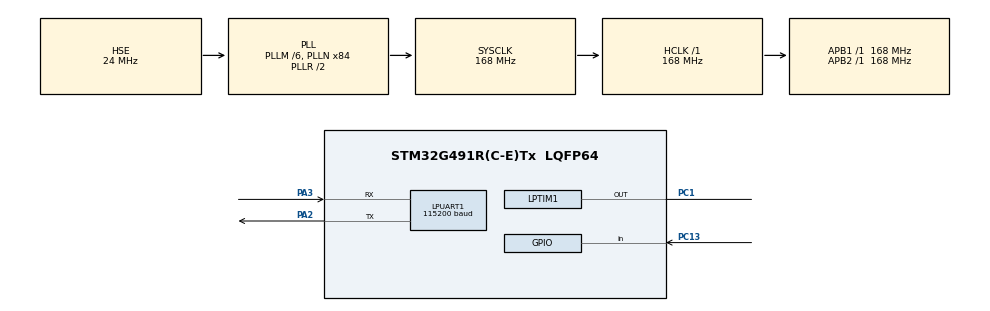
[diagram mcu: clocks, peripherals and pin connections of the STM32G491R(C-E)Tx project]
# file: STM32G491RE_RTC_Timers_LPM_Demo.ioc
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IWDG.Prescaler=IWDG_PRESCALER_256
IWDG.Reload=2500
IWDG.Window=2500
LPTIM1.ClockPrescaler=LPTIM_PRESCALER_DIV32
LPUART1.BaudRate=115200
Mcu.Family=STM32G4
Mcu.Name=STM32G491R(C-E)Tx
Mcu.Package=LQFP64
NVIC.PriorityGroup=NVIC_PRIORITYGROUP_4
NVIC.RTC_WKUP_IRQn=true\:0\:0\:false\:false\:true\:true\:true\:true
PA13.Mode=Serial_Wire
PA13.Signal=SYS_JTMS-SWDIO
PA14.Mode=Serial_Wire
PA14.Signal=SYS_JTCK-SWCLK
PA2.Mode=Asynchronous
PA2.Signal=LPUART1_TX
PA3.Mode=Asynchronous
PA3.Signal=LPUART1_RX
PC1.Mode=WaveformGeneration
PC1.Signal=LPTIM1_OUT
PC13.Signal=GPIO_Input
PC14-OSC32_IN.Mode=LSE-External-Oscillator
PC14-OSC32_IN.Signal=RCC_OSC32_IN
PC15-OSC32_OUT.Mode=LSE-External-Oscillator
PC15-OSC32_OUT.Signal=RCC_OSC32_OUT
PF0-OSC_IN.Mode=HSE-External-Oscillator
PF0-OSC_IN.Signal=RCC_OSC_IN
PF1-OSC_OUT.Mode=HSE-External-Oscillator
PF1-OSC_OUT.Signal=RCC_OSC_OUT
ProjectManager.HeapSize=0x200
ProjectManager.StackSize=0x400
ProjectManager.TargetToolchain=STM32CubeIDE
RCC.ADC12Freq_Value=168000000
RCC.ADC345Freq_Value=168000000
RCC.AHBFreq_Value=168000000
RCC.APB1Freq_Value=168000000
RCC.APB1TimFreq_Value=168000000
RCC.APB2Freq_Value=168000000
RCC.APB2TimFreq_Value=168000000
RCC.CortexFreq_Value=168000000
RCC.EXTERNAL_CLOCK_VALUE=12288000
RCC.HCLKFreq_Value=168000000
RCC.HSE_VALUE=24000000
RCC.HSI48_VALUE=48000000
RCC.HSI_VALUE=16000000
RCC.LPTIM1CLockSelection=RCC_LPTIM1CLKSOURCE_LSE
RCC.PLLM=RCC_PLLM_DIV6
RCC.PLLN=84
RCC.PLLSourceVirtual=RCC_PLLSOURCE_HSE
RCC.RTCClockSelection=RCC_RTCCLKSOURCE_LSE
RCC.SYSCLKFreq_VALUE=168000000
RCC.SYSCLKSource=RCC_SYSCLKSOURCE_PLLCLK
RCC.USBFreq_Value=48000000
RCC.VCOOutputFreq_Value=336000000
RTC.DayLightSaving=RTC_DAYLIGHTSAVING_ADD1H
RTC.WakeUpClock-WakeUp=RTC_WAKEUPCLOCK_CK_SPRE_16BITS
RTC.WakeUpCounter-WakeUp=10
RTC.WeekDay=RTC_WEEKDAY_SUNDAY
VP_IWDG_VS_IWDG.Mode=IWDG_Activate
VP_LPTIM1_VS_LPTIM_counterModeInternalClock.Mode=Counts__internal_clock_event_00
VP_RTC_VS_RTC_Activate.Mode=RTC_Enabled
VP_RTC_VS_RTC_Calendar.Mode=RTC_Calendar
VP_RTC_VS_RTC_WakeUp_intern.Mode=WakeUp
board=custom

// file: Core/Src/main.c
/* USER CODE BEGIN Header */
/**
  ******************************************************************************
  * @file           : main.c
  * @brief          : Main program body
  ******************************************************************************
  * @attention
  *
  * Copyright (c) 2022 STMicroelectronics.
  * All rights reserved.
  *
  * This software is licensed under terms that can be found in the LICENSE file
  * in the root directory of this software component.
  * If no LICENSE file comes with this software, it is provided AS-IS.
  *
  ******************************************************************************
  */

/**
  ******************************************************************************
  * @file       : main.c
  * @brief      : RTC, Timers, and LPM demo, Baremetal implementation
  ******************************************************************************
  * @author     : Eugene Kalosha <kevmn07@gmail.com>
  * @version    : 1.0.0
  ******************************************************************************
  * @section License
  * SPDX-License-Identifier: GPL-3.0-or-later
  *
  * Copyright (C) 2022 Eugene Kalosha. All rights reserved.
  *
  * This program is free software; you can redistribute it and/or
  * modify it under the terms of the GNU General Public License
  * as published by the Free Software Foundation; either version 3
  * of the License, or (at your option) any later version.
  *
  * This program is distributed in the hope that it will be useful,
  * but WITHOUT ANY WARRANTY; without even the implied warranty of
  * MERCHANTABILITY or FITNESS FOR A PARTICULAR PURPOSE.  See the
  * GNU General Public License for more details.
  *
  * You should have received a copy of the GNU General Public License
  * along with this program.  If not, see <https://www.gnu.org/licenses/>.
  */
/* USER CODE END Header */
#include "main.h"

/* USER CODE BEGIN Includes */
#include <stdio.h>
#include <stdint.h>
#include <stdbool.h>
#include <string.h>
#include "stm32g4xx_ll_rtc.h"
#include "stm32g4xx_ll_utils.h"

/* USER CODE END Includes */

/* USER CODE BEGIN PTD */
typedef enum  {
	PW_OFF = 0,
	PW_1S,
	PW_1SINV,
	PW_2S,
	PW_2SINV,
	PW_4S,
	PW_4SINV,
	PW_ON,

	PW_MAX
} PW_PRM;

typedef struct {
	bool     run;
	uint32_t polarity;
	uint16_t cmp;
	uint16_t arl;
} TIMER_PRM;

/* USER CODE END PTD */

/* USER CODE BEGIN PD */

#define SLEEP_SPAN 				9U 	// 10 sec, max = 19 sec because of IWDT

#ifdef __GNUC__
  /* With GCC, small printf (option LD Linker->Libraries->Small printf
     set to 'Yes') calls __io_putchar() */
  #define PUTCHAR_PROTOTYPE int __io_putchar(int ch)
  #define GETCHAR_PROTOTYPE int __io_getchar(void)
#else
  #define PUTCHAR_PROTOTYPE int fputc(int ch, FILE *f)
  #define GETCHAR_PROTOTYPE int fgetc(FILE *f)
#endif /* __GNUC__ */

/* USER CODE END PD */

/* USER CODE BEGIN PM */
#define SEND_GOTOSLEEP()		do {\
									printf("NUCLEO-G491RE board enters Sleep mode\r\n");\
								} while(0)

#define SEND_WAKEUP()			do {\
    								printf("NUCLEO-G491RE board came out of Sleep mode\r\n");\
								} while (0)

#define SEND_SLEEP_ERR()		do {\
									printf("\r\nWrong command\r\n");\
									printf("Type \"S\" or \"s\" to Sleep\r\n");\
								} while (0)

#define SEND_INVIT()			do {printf("\r\n*\t*\t*\r\n");\
							    	printf("NUCLEO-G491RE board launched, ID: ");\
							    	printf("%#010lx%08lx%08lx\r\n",\
							    			LL_GetUID_Word0(),\
							    			LL_GetUID_Word1(),\
							    			LL_GetUID_Word2());\
								} while (0)

#define SEND_NOTE()				do {\
									printf("\r\nStart Main Loop\r\n");\
									printf("Type \"S\" or \"s\" to Sleep\r\n");\
								} while (0)

#define GET_D_T(pt, pd)			do {\
									HAL_RTC_GetTime(&hrtc, (pt), RTC_FORMAT_BIN);\
									HAL_RTC_GetDate(&hrtc, (pd), RTC_FORMAT_BIN);\
								} while (0)

#define SEND_D_T(pt, pd)			do {\
									printf("\r\nBoard Date and Time: %02x\\%02d\\%02d %02d:%02d:%02d\r\n",\
										(pd)->Month, (pd)->Date, (pd)->Year,\
										(pt)->Hours, (pt)->Minutes, (pt)->Seconds);\
								} while (0)

#define SEND_TIME(pt)			do {\
									printf("\r\nTime: %02d:%02d:%02d.%03lu\r\n",\
										(pt)->Hours, (pt)->Minutes, (pt)->Seconds,\
										(((pt)->SecondFraction - (pt)->SubSeconds) * 1000)/\
										((pt)->SecondFraction + 1));\
								} while (0)

#define RECEIVE_D_T(pt, pd)	do {\
									printf("\r\nSet Month in MM format: ");\
									scanf("%2hhx", &((pd)->Month));\
									printf("\r\nSet Day in DD format: ");\
									scanf("%2hhu", &((pd)->Date));\
									printf("\r\nSet Year in YY format: ");\
									scanf("%2hhu", &((pd)->Year));\
									printf("\r\nSet Hour in hh format: ");\
									scanf("%2hhx", &((pt)->Hours));\
									printf("\r\nSet Minute in mm format: ");\
									scanf("%2hhu", &((pt)->Minutes));\
									printf("\r\nSet Seconds in ss format: ");\
									scanf("%2hhu", &((pt)->Seconds));\
								} while (0)

#define SET_D_T(pt, pd)			do {\
									HAL_RTC_SetTime(&hrtc, (pt), RTC_FORMAT_BIN);\
									HAL_RTC_SetDate(&hrtc, (pd), RTC_FORMAT_BIN);\
								} while (0)

#define SEND_TMR_PRM(wf)		do {\
									switch (wf) {\
										case PW_OFF:\
											printf("Timer: Always \"OFF\"\r\n");\
											break;\
										case PW_1S:\
											printf("Timer: D=1/3, T=1 sec\r\n");\
											break;\
										case PW_1SINV:\
											printf("Timer: D=2/3, T=1 sec\r\n");\
											break;\
										case PW_2S:\
											printf("Timer: D=1/4, T=2 sec\r\n");\
											break;\
										case PW_2SINV:\
											printf("Timer: D=3/4, T=2 sec\r\n");\
											break;\
										case PW_4S:\
											printf("Timer: D=1/5, T=4 sec\r\n");\
											break;\
										case PW_4SINV:\
											printf("Timer: D=4/5, T=4 sec\r\n");\
											break;\
										case PW_ON:\
											printf("Timer: Always \"ON\"\r\n");\
											break;\
										default:\
											Error_Handler();\
											break;\
									}\
								} while (0)

#define SEND_TMR_OUTPUT(state)	do {\
									printf("Timer: Output \"%s\"\r\n",\
											(state) == GPIO_PIN_SET ? "ON" : "OFF");\
								} while (0)

/* USER CODE END PM */

IWDG_HandleTypeDef hiwdg;

LPTIM_HandleTypeDef hlptim1;

UART_HandleTypeDef hlpuart1;

RTC_HandleTypeDef hrtc;

/* USER CODE BEGIN PV */
const static TIMER_PRM lptmr_prm[PW_MAX] = {
		{.run = false, .polarity = LPTIM_OUTPUTPOLARITY_HIGH, .cmp = 0,    .arl = 0},
		{.run = true,  .polarity = LPTIM_OUTPUTPOLARITY_LOW,  .cmp = 341,  .arl = 1023},
		{.run = true,  .polarity = LPTIM_OUTPUTPOLARITY_HIGH, .cmp = 341,  .arl = 1023},
		{.run = true,  .polarity = LPTIM_OUTPUTPOLARITY_LOW,  .cmp = 512,  .arl = 2047},
		{.run = true,  .polarity = LPTIM_OUTPUTPOLARITY_HIGH, .cmp = 512,  .arl = 2047},
		{.run = true,  .polarity = LPTIM_OUTPUTPOLARITY_LOW,  .cmp = 819,  .arl = 4095},
		{.run = true,  .polarity = LPTIM_OUTPUTPOLARITY_HIGH, .cmp = 819,  .arl = 4095},
		{.run = false, .polarity = LPTIM_OUTPUTPOLARITY_LOW,  .cmp = 0,    .arl = 0}
};

static bool allow_wdt_init = false;

/* USER CODE END PV */

void SystemClock_Config(void);
static void MX_GPIO_Init(void);
static void MX_LPUART1_UART_Init(void);
static void MX_IWDG_Init(void);
static void MX_LPTIM1_Init(void);
static void MX_RTC_Init(void);
/* USER CODE BEGIN PFP */

PUTCHAR_PROTOTYPE
{
  HAL_UART_Transmit(&hlpuart1, (uint8_t *)&ch, 1, HAL_MAX_DELAY);
  return ch;
}

GETCHAR_PROTOTYPE
{
  uint8_t ch = 0;

  /* Clear the Overrun flag just before receiving the first character */
  __HAL_UART_CLEAR_OREFLAG(&hlpuart1);

  /* Wait for reception of a character on the USART RX line and echo this
   * character on console */
  HAL_UART_Receive(&hlpuart1, (uint8_t *)&ch, 1, HAL_MAX_DELAY);
  return ch;
}

static void update_pw_tmr(PW_PRM prm);

/* USER CODE END PFP */

int main(void)
{
  /* USER CODE BEGIN 1 */
	RTC_TimeTypeDef brdtime;
	RTC_DateTypeDef brddate;
	GPIO_PinState blue_btn = GPIO_PIN_RESET;
	GPIO_PinState t_btn = GPIO_PIN_RESET;

#ifdef DEBUG_TMR
	GPIO_PinState tmr_out;
	GPIO_PinState t_out;
	int t_msg = 0;
#endif /* DEBUG_TMR */

	PW_PRM tmr_pw_prm = PW_OFF;

	uint8_t tmin;
	uint8_t tch;
	bool sleep = false;

  /* USER CODE END 1 */

  /* MCU Configuration--------------------------------------------------------*/

  /* Reset of all peripherals, Initializes the Flash interface and the Systick. */
  HAL_Init();

  /* Configure the system clock */
  SystemClock_Config();

  /* Initialize all configured peripherals */
  MX_GPIO_Init();
  MX_LPUART1_UART_Init();
  MX_IWDG_Init();
  MX_LPTIM1_Init();
  MX_RTC_Init();
  /* USER CODE BEGIN 2 */
  setvbuf(stdin, NULL, _IONBF, 0);

  SEND_INVIT();

  RECEIVE_D_T(&brdtime, &brddate);
  SET_D_T(&brdtime, &brddate);
  tmin = brdtime.Minutes;
  update_pw_tmr(tmr_pw_prm);

  GET_D_T(&brdtime, &brddate);
  SEND_D_T(&brdtime, &brddate);
  SEND_TMR_PRM(tmr_pw_prm);

#ifdef DEBUG_TMR
  tmr_out = t_out = HAL_GPIO_ReadPin(GPIOC, GPIO_PIN_1);
  SEND_TMR_OUTPUT(tmr_out);
#endif /* DEBUG_TMR */

  /* USER CODE END 2 */

  /* Infinite loop */
  /* USER CODE BEGIN WHILE */
  allow_wdt_init = true;
  MX_IWDG_Init();

  SEND_NOTE();
  while (1)
  {
    /* USER CODE END WHILE */

    /* USER CODE BEGIN 3 */
	  GET_D_T(&brdtime, &brddate);
	  if (brdtime.Minutes ^ tmin) {
		  SEND_D_T(&brdtime, &brddate);
		  tmin = brdtime.Minutes;
	  }

	  blue_btn =  HAL_GPIO_ReadPin(GPIOC, GPIO_PIN_13);
	  if (t_btn != blue_btn) {
		  t_btn = blue_btn;
		  if (blue_btn == GPIO_PIN_SET) {
			  tmr_pw_prm = (++tmr_pw_prm < PW_MAX) ? tmr_pw_prm : PW_OFF;
			  update_pw_tmr(tmr_pw_prm);
			  SEND_TIME(&brdtime);
			  SEND_TMR_PRM(tmr_pw_prm);

#ifdef DEBUG_TMR
			  t_msg = 0;
#endif /* DEBUG_TMR */
		  }
	  }

#ifdef DEBUG_TMR
	  tmr_out =  HAL_GPIO_ReadPin(GPIOC, GPIO_PIN_1);
	  if (t_out != tmr_out) {
		  t_out = tmr_out;
		  if (t_msg++ < 10) {
			  SEND_TIME(&brdtime);
			  SEND_TMR_OUTPUT(tmr_out);
		  }
	  }
#endif /* DEBUG_TMR */

	  if (__HAL_UART_GET_FLAG(&hlpuart1, UART_FLAG_RXNE)) {
		  HAL_UART_Receive(&hlpuart1, (uint8_t *)&tch, 1, 0);
		  if (tch == 'S' || tch == 's') { sleep = true; }
		  else { SEND_SLEEP_ERR(); }
	  }

	  if (sleep) {
		  if (HAL_RTCEx_SetWakeUpTimer_IT(&hrtc, SLEEP_SPAN, RTC_WAKEUPCLOCK_CK_SPRE_16BITS) != HAL_OK) {
			  Error_Handler();
		  }
		  SEND_D_T(&brdtime, &brddate);
		  SEND_GOTOSLEEP();

  		  HAL_SuspendTick();
  		  HAL_PWR_EnterSLEEPMode(PWR_MAINREGULATOR_ON, PWR_SLEEPENTRY_WFI);
		  HAL_ResumeTick();
		  GET_D_T(&brdtime, &brddate);
		  SEND_D_T(&brdtime, &brddate);
		  SEND_WAKEUP();

		  sleep = false;
	  }

	  HAL_IWDG_Refresh(&hiwdg);
  }
  /* USER CODE END 3 */
}

void SystemClock_Config(void)
{
  RCC_OscInitTypeDef RCC_OscInitStruct = {0};
  RCC_ClkInitTypeDef RCC_ClkInitStruct = {0};

  /** Configure the main internal regulator output voltage
  */
  HAL_PWREx_ControlVoltageScaling(PWR_REGULATOR_VOLTAGE_SCALE1_BOOST);

  /** Configure LSE Drive Capability
  */
  HAL_PWR_EnableBkUpAccess();
  __HAL_RCC_LSEDRIVE_CONFIG(RCC_LSEDRIVE_LOW);

  /** Initializes the RCC Oscillators according to the specified parameters
  * in the RCC_OscInitTypeDef structure.
  */
  RCC_OscInitStruct.OscillatorType = RCC_OSCILLATORTYPE_LSI|RCC_OSCILLATORTYPE_HSE
                              |RCC_OSCILLATORTYPE_LSE;
  RCC_OscInitStruct.HSEState = RCC_HSE_ON;
  RCC_OscInitStruct.LSEState = RCC_LSE_ON;
  RCC_OscInitStruct.LSIState = RCC_LSI_ON;
  RCC_OscInitStruct.PLL.PLLState = RCC_PLL_ON;
  RCC_OscInitStruct.PLL.PLLSource = RCC_PLLSOURCE_HSE;
  RCC_OscInitStruct.PLL.PLLM = RCC_PLLM_DIV6;
  RCC_OscInitStruct.PLL.PLLN = 84;
  RCC_OscInitStruct.PLL.PLLP = RCC_PLLP_DIV2;
  RCC_OscInitStruct.PLL.PLLQ = RCC_PLLQ_DIV2;
  RCC_OscInitStruct.PLL.PLLR = RCC_PLLR_DIV2;
  if (HAL_RCC_OscConfig(&RCC_OscInitStruct) != HAL_OK)
  {
    Error_Handler();
  }

  /** Initializes the CPU, AHB and APB buses clocks
  */
  RCC_ClkInitStruct.ClockType = RCC_CLOCKTYPE_HCLK|RCC_CLOCKTYPE_SYSCLK
                              |RCC_CLOCKTYPE_PCLK1|RCC_CLOCKTYPE_PCLK2;
  RCC_ClkInitStruct.SYSCLKSource = RCC_SYSCLKSOURCE_PLLCLK;
  RCC_ClkInitStruct.AHBCLKDivider = RCC_SYSCLK_DIV1;
  RCC_ClkInitStruct.APB1CLKDivider = RCC_HCLK_DIV1;
  RCC_ClkInitStruct.APB2CLKDivider = RCC_HCLK_DIV1;

  if (HAL_RCC_ClockConfig(&RCC_ClkInitStruct, FLASH_LATENCY_4) != HAL_OK)
  {
    Error_Handler();
  }
}

static void MX_IWDG_Init(void)
{

  /* USER CODE BEGIN IWDG_Init 0 */
  if (!allow_wdt_init) { return; }
  /* USER CODE END IWDG_Init 0 */

  hiwdg.Instance = IWDG;
  hiwdg.Init.Prescaler = IWDG_PRESCALER_256;
  hiwdg.Init.Window = 2500;
  hiwdg.Init.Reload = 2500;
  if (HAL_IWDG_Init(&hiwdg) != HAL_OK)
  {
    Error_Handler();
  }

}

static void MX_LPTIM1_Init(void)
{

  hlptim1.Instance = LPTIM1;
  hlptim1.Init.Clock.Source = LPTIM_CLOCKSOURCE_APBCLOCK_LPOSC;
  hlptim1.Init.Clock.Prescaler = LPTIM_PRESCALER_DIV32;
  hlptim1.Init.Trigger.Source = LPTIM_TRIGSOURCE_SOFTWARE;
  hlptim1.Init.OutputPolarity = LPTIM_OUTPUTPOLARITY_HIGH;
  hlptim1.Init.UpdateMode = LPTIM_UPDATE_IMMEDIATE;
  hlptim1.Init.CounterSource = LPTIM_COUNTERSOURCE_INTERNAL;
  hlptim1.Init.Input1Source = LPTIM_INPUT1SOURCE_GPIO;
  hlptim1.Init.Input2Source = LPTIM_INPUT2SOURCE_GPIO;
  if (HAL_LPTIM_Init(&hlptim1) != HAL_OK)
  {
    Error_Handler();
  }

}

static void MX_LPUART1_UART_Init(void)
{

  hlpuart1.Instance = LPUART1;
  hlpuart1.Init.BaudRate = 115200;
  hlpuart1.Init.WordLength = UART_WORDLENGTH_8B;
  hlpuart1.Init.StopBits = UART_STOPBITS_1;
  hlpuart1.Init.Parity = UART_PARITY_NONE;
  hlpuart1.Init.Mode = UART_MODE_TX_RX;
  hlpuart1.Init.HwFlowCtl = UART_HWCONTROL_NONE;
  hlpuart1.Init.OneBitSampling = UART_ONE_BIT_SAMPLE_DISABLE;
  hlpuart1.Init.ClockPrescaler = UART_PRESCALER_DIV1;
  hlpuart1.AdvancedInit.AdvFeatureInit = UART_ADVFEATURE_NO_INIT;
  if (HAL_UART_Init(&hlpuart1) != HAL_OK)
  {
    Error_Handler();
  }
  if (HAL_UARTEx_SetTxFifoThreshold(&hlpuart1, UART_TXFIFO_THRESHOLD_1_8) != HAL_OK)
  {
    Error_Handler();
  }
  if (HAL_UARTEx_SetRxFifoThreshold(&hlpuart1, UART_RXFIFO_THRESHOLD_1_8) != HAL_OK)
  {
    Error_Handler();
  }
  if (HAL_UARTEx_DisableFifoMode(&hlpuart1) != HAL_OK)
  {
    Error_Handler();
  }

}

static void MX_RTC_Init(void)
{

  RTC_TimeTypeDef sTime = {0};
  RTC_DateTypeDef sDate = {0};

  /** Initialize RTC Only
  */
  hrtc.Instance = RTC;
  hrtc.Init.HourFormat = RTC_HOURFORMAT_24;
  hrtc.Init.AsynchPrediv = 127;
  hrtc.Init.SynchPrediv = 255;
  hrtc.Init.OutPut = RTC_OUTPUT_DISABLE;
  hrtc.Init.OutPutRemap = RTC_OUTPUT_REMAP_NONE;
  hrtc.Init.OutPutPolarity = RTC_OUTPUT_POLARITY_HIGH;
  hrtc.Init.OutPutType = RTC_OUTPUT_TYPE_OPENDRAIN;
  hrtc.Init.OutPutPullUp = RTC_OUTPUT_PULLUP_NONE;
  if (HAL_RTC_Init(&hrtc) != HAL_OK)
  {
    Error_Handler();
  }

  /** Initialize RTC and set the Time and Date
  */
  sTime.Hours = 0x0;
  sTime.Minutes = 0x0;
  sTime.Seconds = 0x0;
  sTime.SubSeconds = 0x0;
  sTime.DayLightSaving = RTC_DAYLIGHTSAVING_ADD1H;
  sTime.StoreOperation = RTC_STOREOPERATION_RESET;
  if (HAL_RTC_SetTime(&hrtc, &sTime, RTC_FORMAT_BCD) != HAL_OK)
  {
    Error_Handler();
  }
  sDate.WeekDay = RTC_WEEKDAY_SUNDAY;
  sDate.Month = RTC_MONTH_JANUARY;
  sDate.Date = 0x1;
  sDate.Year = 0x0;

  if (HAL_RTC_SetDate(&hrtc, &sDate, RTC_FORMAT_BCD) != HAL_OK)
  {
    Error_Handler();
  }

  /** Enable the WakeUp
  */
  if (HAL_RTCEx_SetWakeUpTimer_IT(&hrtc, 10, RTC_WAKEUPCLOCK_CK_SPRE_16BITS) != HAL_OK)
  {
    Error_Handler();
  }
  /* USER CODE BEGIN RTC_Init 2 */
  if (HAL_RTCEx_DeactivateWakeUpTimer(&hrtc) != HAL_OK) {
	  Error_Handler();
  }
  /* USER CODE END RTC_Init 2 */

}

static void MX_GPIO_Init(void)
{
  GPIO_InitTypeDef GPIO_InitStruct = {0};

  /* GPIO Ports Clock Enable */
  __HAL_RCC_GPIOC_CLK_ENABLE();
  __HAL_RCC_GPIOF_CLK_ENABLE();
  __HAL_RCC_GPIOA_CLK_ENABLE();

  /*Configure GPIO pin : PC13 */
  GPIO_InitStruct.Pin = GPIO_PIN_13;
  GPIO_InitStruct.Mode = GPIO_MODE_INPUT;
  GPIO_InitStruct.Pull = GPIO_NOPULL;
  HAL_GPIO_Init(GPIOC, &GPIO_InitStruct);

}

/* USER CODE BEGIN 4 */
/**
  * @brief Update parameters of LPTIM1 running  Function
  * @param fl_led - enum, the parameter set number
  * @retval None
  */
static void update_pw_tmr(PW_PRM prm) {

  hlptim1.Init.OutputPolarity = lptmr_prm[prm].polarity;
  if (HAL_LPTIM_Init(&hlptim1) != HAL_OK)
  {
    Error_Handler();
  }
  if (lptmr_prm[prm].run) {
	  if (HAL_LPTIM_PWM_Start(&hlptim1,
			  	  	  	  	  (uint32_t)lptmr_prm[prm].arl,
							  (uint32_t)lptmr_prm[prm].cmp) != HAL_OK) {
		  Error_Handler();
	  }
  }
  else {
	  if (HAL_LPTIM_PWM_Stop(&hlptim1) != HAL_OK) {
		  Error_Handler();
	  }
  }
}

/**
  * @brief  Wake Up Timer callback.
  * @param  hrtc RTC handle
  * @retval None
  */
void HAL_RTCEx_WakeUpTimerEventCallback(RTC_HandleTypeDef *hrtc)
{
   if (HAL_RTCEx_DeactivateWakeUpTimer(hrtc) != HAL_OK) {
	  Error_Handler();
  }
}

/* USER CODE END 4 */

void Error_Handler(void)
{
  /* USER CODE BEGIN Error_Handler_Debug */
  /* User can add his own implementation to report the HAL error return state */
  __disable_irq();
  printf("\r\nError Handler\r\n");
  while (1)
  {
  }
  /* USER CODE END Error_Handler_Debug */
}
